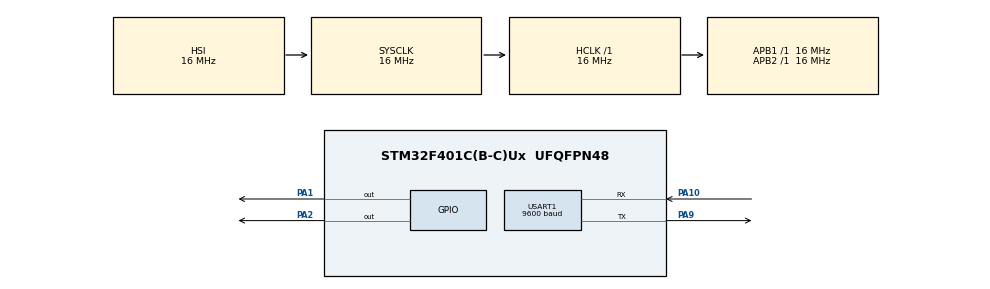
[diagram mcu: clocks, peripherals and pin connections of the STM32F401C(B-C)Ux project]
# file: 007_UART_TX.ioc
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Mcu.Family=STM32F4
Mcu.Name=STM32F401C(B-C)Ux
Mcu.Package=UFQFPN48
NVIC.PriorityGroup=NVIC_PRIORITYGROUP_4
PA1.Signal=GPIO_Output
PA10.Mode=Asynchronous
PA10.Signal=USART1_RX
PA2.Signal=GPIO_Output
PA9.Mode=Asynchronous
PA9.Signal=USART1_TX
ProjectManager.HeapSize=0x200
ProjectManager.StackSize=0x400
ProjectManager.TargetToolchain=STM32CubeIDE
RCC.AHBFreq_Value=16000000
RCC.APB1Freq_Value=16000000
RCC.APB2Freq_Value=16000000
RCC.CortexFreq_Value=16000000
RCC.HSE_VALUE=25000000
RCC.HSI_VALUE=16000000
RCC.LSE_VALUE=32768
RCC.SYSCLKFreq_VALUE=16000000
RCC.VCOOutputFreq_Value=192000000
USART1.BaudRate=9600
USART1.VirtualMode=VM_ASYNC
USART1.WordLength=WORDLENGTH_8B
board=custom

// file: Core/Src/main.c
/* USER CODE BEGIN Header */
/**
  ******************************************************************************
  * @file           : main.c
  * @brief          : Main program body
  ******************************************************************************
  * @attention
  *
  * Copyright (c) 2024 STMicroelectronics.
  * All rights reserved.
  *
  * This software is licensed under terms that can be found in the LICENSE file
  * in the root directory of this software component.
  * If no LICENSE file comes with this software, it is provided AS-IS.
  *
  ******************************************************************************
  */
/* USER CODE END Header */
#include "main.h"

/* USER CODE BEGIN Includes */
#include "string.h"

/* USER CODE END Includes */

UART_HandleTypeDef huart1;

/* USER CODE BEGIN PV */
uint8_t Tx_Data[10] = "Sachin\r\n";
uint8_t Rx_Data[10];// = "";

/* USER CODE END PV */

void SystemClock_Config(void);
static void MX_GPIO_Init(void);
static void MX_USART1_UART_Init(void);

int main(void)
{

  /* MCU Configuration--------------------------------------------------------*/

  /* Reset of all peripherals, Initializes the Flash interface and the Systick. */
  HAL_Init();

  /* Configure the system clock */
  SystemClock_Config();

  /* Initialize all configured peripherals */
  MX_GPIO_Init();
  MX_USART1_UART_Init();

  /* Infinite loop */
  /* USER CODE BEGIN WHILE */
  HAL_UART_Transmit(&huart1, Tx_Data, strlen((const char *)Tx_Data), HAL_MAX_DELAY);
  HAL_Delay(1000);
  while (1)
  {
	  if(HAL_UART_Receive(&huart1, Rx_Data, 1, HAL_MAX_DELAY) == HAL_OK){
		  if(Rx_Data[0] == 'a'){
			  HAL_GPIO_WritePin(GPIOA, GPIO_PIN_1, 1);
			  HAL_GPIO_WritePin(GPIOA, GPIO_PIN_2, 0);
		  }
		  else if(Rx_Data[0] == 'b'){
			  HAL_GPIO_WritePin(GPIOA, GPIO_PIN_1, 0);
			  HAL_GPIO_WritePin(GPIOA, GPIO_PIN_2, 1);
		  }
		  else {
			  HAL_GPIO_WritePin(GPIOA, GPIO_PIN_1, 1);
			  HAL_GPIO_WritePin(GPIOA, GPIO_PIN_2, 1);
		  }

	  }

    /* USER CODE END WHILE */

  }
}

void SystemClock_Config(void)
{
  RCC_OscInitTypeDef RCC_OscInitStruct = {0};
  RCC_ClkInitTypeDef RCC_ClkInitStruct = {0};

  /** Configure the main internal regulator output voltage
  */
  __HAL_RCC_PWR_CLK_ENABLE();
  __HAL_PWR_VOLTAGESCALING_CONFIG(PWR_REGULATOR_VOLTAGE_SCALE2);

  /** Initializes the RCC Oscillators according to the specified parameters
  * in the RCC_OscInitTypeDef structure.
  */
  RCC_OscInitStruct.OscillatorType = RCC_OSCILLATORTYPE_HSI;
  RCC_OscInitStruct.HSIState = RCC_HSI_ON;
  RCC_OscInitStruct.HSICalibrationValue = RCC_HSICALIBRATION_DEFAULT;
  RCC_OscInitStruct.PLL.PLLState = RCC_PLL_NONE;
  if (HAL_RCC_OscConfig(&RCC_OscInitStruct) != HAL_OK)
  {
    Error_Handler();
  }

  /** Initializes the CPU, AHB and APB buses clocks
  */
  RCC_ClkInitStruct.ClockType = RCC_CLOCKTYPE_HCLK|RCC_CLOCKTYPE_SYSCLK
                              |RCC_CLOCKTYPE_PCLK1|RCC_CLOCKTYPE_PCLK2;
  RCC_ClkInitStruct.SYSCLKSource = RCC_SYSCLKSOURCE_HSI;
  RCC_ClkInitStruct.AHBCLKDivider = RCC_SYSCLK_DIV1;
  RCC_ClkInitStruct.APB1CLKDivider = RCC_HCLK_DIV1;
  RCC_ClkInitStruct.APB2CLKDivider = RCC_HCLK_DIV1;

  if (HAL_RCC_ClockConfig(&RCC_ClkInitStruct, FLASH_LATENCY_0) != HAL_OK)
  {
    Error_Handler();
  }
}

static void MX_USART1_UART_Init(void)
{

  huart1.Instance = USART1;
  huart1.Init.BaudRate = 9600;
  huart1.Init.WordLength = UART_WORDLENGTH_8B;
  huart1.Init.StopBits = UART_STOPBITS_1;
  huart1.Init.Parity = UART_PARITY_NONE;
  huart1.Init.Mode = UART_MODE_TX_RX;
  huart1.Init.HwFlowCtl = UART_HWCONTROL_NONE;
  huart1.Init.OverSampling = UART_OVERSAMPLING_16;
  if (HAL_UART_Init(&huart1) != HAL_OK)
  {
    Error_Handler();
  }

}

static void MX_GPIO_Init(void)
{
  GPIO_InitTypeDef GPIO_InitStruct = {0};

  /* GPIO Ports Clock Enable */
  __HAL_RCC_GPIOA_CLK_ENABLE();

  /*Configure GPIO pin Output Level */
  HAL_GPIO_WritePin(GPIOA, GPIO_PIN_1|GPIO_PIN_2, GPIO_PIN_RESET);

  /*Configure GPIO pins : PA1 PA2 */
  GPIO_InitStruct.Pin = GPIO_PIN_1|GPIO_PIN_2;
  GPIO_InitStruct.Mode = GPIO_MODE_OUTPUT_PP;
  GPIO_InitStruct.Pull = GPIO_NOPULL;
  GPIO_InitStruct.Speed = GPIO_SPEED_FREQ_LOW;
  HAL_GPIO_Init(GPIOA, &GPIO_InitStruct);

}

void Error_Handler(void)
{
  __disable_irq();
  while (1)
  {
  }
}
